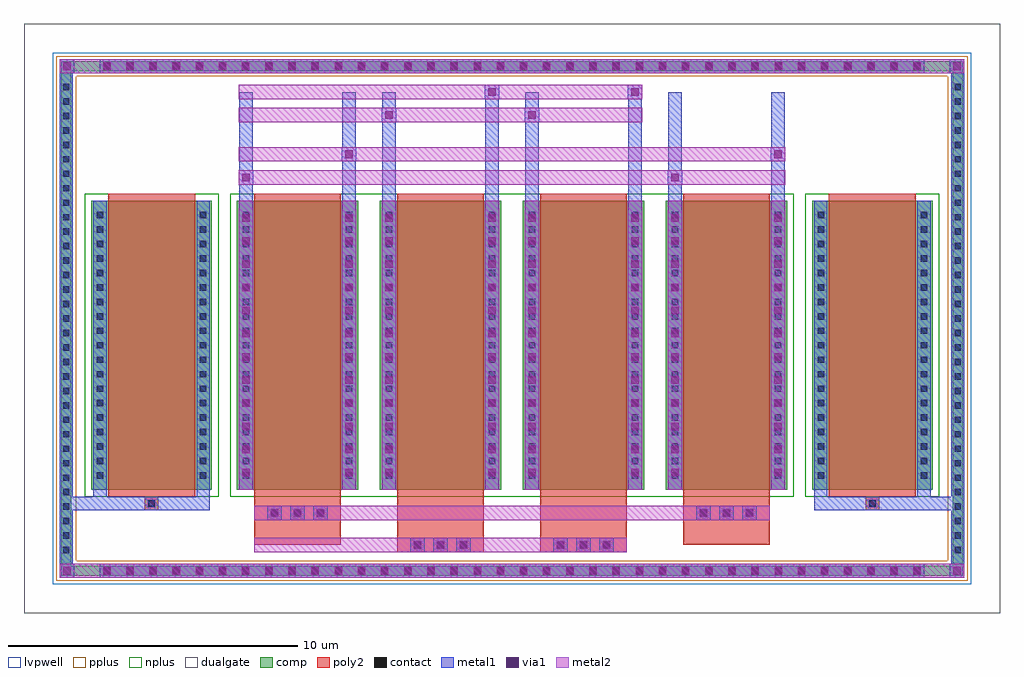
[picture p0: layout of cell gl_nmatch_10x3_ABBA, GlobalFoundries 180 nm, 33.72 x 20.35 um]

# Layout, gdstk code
import gdstk
lib = gdstk.Library(unit=1e-6, precision=1e-09)
def R(c, l, rs):  # rectangles x0, y0, x1, y1
    for r in rs: c.add(gdstk.rectangle(r[:2], r[2:], *l))
def A(c, l, x, y, w, h, nx, ny, dx, dy):  # array of equal rectangles
    R(c, l, [(x+i*dx, y+j*dy, x+i*dx+w, y+j*dy+h) for i in range(nx) for j in range(ny)])
def P(c, l, *ps):  # polygons
    for p in ps: c.add(gdstk.Polygon(p, *l))
comp = (22, 0)
poly2 = (30, 0)
pplus = (31, 0)
nplus = (32, 0)
contact = (33, 0)
metal1 = (34, 0)
via1 = (35, 0)
metal2 = (36, 0)
dualgate = (55, 0)
lvpwell = (204, 0)

gl_nmatch_10x3_abba = lib.new_cell('gl_nmatch_10x3_ABBA')
A(gl_nmatch_10x3_abba, comp, -14.18, -8.895, 0.36, 0.36, 36, 2, 0.8, 17.43)
A(gl_nmatch_10x3_abba, comp, -15.58, -8.18, 0.36, 0.36, 1, 33, 0, 0.5)
A(gl_nmatch_10x3_abba, comp, 15.22, -8.18, 0.36, 0.36, 1, 33, 0, 0.5)
A(gl_nmatch_10x3_abba, comp, -9.51, -5.925, 4.2, 10, 4, 1, 4.94, 0)
R(gl_nmatch_10x3_abba, comp, [(-14.18,-8.895,14.18,-8.535), (-15.58,-8.18,-15.22,8.18), (15.22,-8.18,15.58,8.18), (-14.53,-5.925,-10.37,4.075), (10.37,-5.925,14.53,4.075), (-14.18,8.535,14.18,8.895)])
P(gl_nmatch_10x3_abba, comp, [(-15.58,-8.895),(-15.58,-8.535),(-15.22,-8.535),(15.22,-8.535),(15.22,8.535),(-15.22,8.535),(-15.22,-8.535),(-15.58,-8.535),(-15.58,8.895),(15.58,8.895),(15.58,-8.895)])
A(gl_nmatch_10x3_abba, poly2, -3.45, -8.005, 0.36, 0.36, 3, 1, 0.8, 0)
A(gl_nmatch_10x3_abba, poly2, 1.49, -8.005, 0.36, 0.36, 3, 1, 0.8, 0)
A(gl_nmatch_10x3_abba, poly2, -8.39, -6.895, 0.36, 0.36, 3, 1, 0.8, 0)
A(gl_nmatch_10x3_abba, poly2, 6.43, -6.895, 0.36, 0.36, 3, 1, 0.8, 0)
A(gl_nmatch_10x3_abba, poly2, -8.91, -6.165, 3, 10.48, 4, 1, 4.94, 0)
R(gl_nmatch_10x3_abba, poly2, [(-3.97,-8.075,-0.97,-7.575), (0.97,-8.075,3.97,-7.575), (-8.91,-7.825,-5.91,-6.165), (5.91,-7.825,8.91,-6.165), (-3.97,-7.575,-0.97,-6.165), (0.97,-7.575,3.97,-6.165), (-8.91,-6.965,-5.91,-6.465), (5.91,-6.965,8.91,-6.465), (-12.68,-6.625,-12.22,-6.165), (12.22,-6.625,12.68,-6.165), (-12.63,-6.575,-12.27,-6.215), (12.27,-6.575,12.63,-6.215), (-8.91,-6.465,-5.91,-6.165), (5.91,-6.465,8.91,-6.165), (-13.95,-6.165,-10.95,4.315), (10.95,-6.165,13.95,4.315)])
P(gl_nmatch_10x3_abba, pplus, [(-15.74,-9.055),(-15.74,-8.375),(-15.06,-8.375),(15.06,-8.375),(15.06,8.375),(-15.06,8.375),(-15.06,-8.375),(-15.74,-8.375),(-15.74,9.055),(15.74,9.055),(15.74,-9.055)])
A(gl_nmatch_10x3_abba, nplus, -9.74, -6.155, 4.66, 10.46, 4, 1, 4.94, 0)
R(gl_nmatch_10x3_abba, nplus, [(-14.76,-6.155,-10.14,4.305), (-9.74,-6.155,9.74,4.305), (10.14,-6.155,14.76,4.305)])
A(gl_nmatch_10x3_abba, contact, -14.11, -8.825, 0.22, 0.22, 36, 2, 0.8, 17.43)
A(gl_nmatch_10x3_abba, contact, -15.51, -8.11, 0.22, 0.22, 1, 33, 0, 0.5)
A(gl_nmatch_10x3_abba, contact, 15.29, -8.11, 0.22, 0.22, 1, 33, 0, 0.5)
A(gl_nmatch_10x3_abba, contact, -3.38, -7.935, 0.22, 0.22, 3, 1, 0.8, 0)
A(gl_nmatch_10x3_abba, contact, 1.56, -7.935, 0.22, 0.22, 3, 1, 0.8, 0)
A(gl_nmatch_10x3_abba, contact, -8.32, -6.825, 0.22, 0.22, 3, 1, 0.8, 0)
A(gl_nmatch_10x3_abba, contact, 6.5, -6.825, 0.22, 0.22, 3, 1, 0.8, 0)
A(gl_nmatch_10x3_abba, contact, -14.34, -5.535, 0.22, 0.22, 1, 19, 0, 0.5)
A(gl_nmatch_10x3_abba, contact, -10.78, -5.535, 0.22, 0.22, 1, 19, 0, 0.5)
A(gl_nmatch_10x3_abba, contact, -9.3, -5.535, 0.22, 0.22, 1, 19, 0, 0.5)
A(gl_nmatch_10x3_abba, contact, -5.74, -5.535, 0.22, 0.22, 1, 19, 0, 0.5)
A(gl_nmatch_10x3_abba, contact, -4.36, -5.535, 0.22, 0.22, 1, 19, 0, 0.5)
A(gl_nmatch_10x3_abba, contact, -0.8, -5.535, 0.22, 0.22, 1, 19, 0, 0.5)
A(gl_nmatch_10x3_abba, contact, 0.58, -5.535, 0.22, 0.22, 1, 19, 0, 0.5)
A(gl_nmatch_10x3_abba, contact, 4.14, -5.535, 0.22, 0.22, 1, 19, 0, 0.5)
A(gl_nmatch_10x3_abba, contact, 5.52, -5.535, 0.22, 0.22, 1, 19, 0, 0.5)
A(gl_nmatch_10x3_abba, contact, 9.08, -5.535, 0.22, 0.22, 1, 19, 0, 0.5)
A(gl_nmatch_10x3_abba, contact, 10.56, -5.535, 0.22, 0.22, 1, 19, 0, 0.5)
A(gl_nmatch_10x3_abba, contact, 14.12, -5.535, 0.22, 0.22, 1, 19, 0, 0.5)
R(gl_nmatch_10x3_abba, contact, [(-12.56,-6.505,-12.34,-6.285), (12.34,-6.505,12.56,-6.285)])
A(gl_nmatch_10x3_abba, metal1, -14.25, -8.965, 0.5, 0.5, 36, 2, 0.8, 17.43)
A(gl_nmatch_10x3_abba, metal1, -15.63, -8.23, 0.46, 0.46, 1, 33, 0, 0.5)
A(gl_nmatch_10x3_abba, metal1, 15.17, -8.23, 0.46, 0.46, 1, 33, 0, 0.5)
A(gl_nmatch_10x3_abba, metal1, -3.52, -8.075, 0.5, 0.5, 3, 1, 0.8, 0)
A(gl_nmatch_10x3_abba, metal1, 1.42, -8.075, 0.5, 0.5, 3, 1, 0.8, 0)
A(gl_nmatch_10x3_abba, metal1, -8.46, -6.965, 0.5, 0.5, 3, 1, 0.8, 0)
A(gl_nmatch_10x3_abba, metal1, 6.36, -6.965, 0.5, 0.5, 3, 1, 0.8, 0)
A(gl_nmatch_10x3_abba, metal1, -14.46, -5.655, 0.46, 0.46, 1, 19, 0, 0.5)
A(gl_nmatch_10x3_abba, metal1, -10.9, -5.655, 0.46, 0.46, 1, 19, 0, 0.5)
A(gl_nmatch_10x3_abba, metal1, -9.42, -5.655, 0.46, 0.46, 1, 19, 0, 0.5)
A(gl_nmatch_10x3_abba, metal1, -5.86, -5.655, 0.46, 0.46, 1, 19, 0, 0.5)
A(gl_nmatch_10x3_abba, metal1, -4.48, -5.655, 0.46, 0.46, 1, 19, 0, 0.5)
A(gl_nmatch_10x3_abba, metal1, -0.92, -5.655, 0.46, 0.46, 1, 19, 0, 0.5)
A(gl_nmatch_10x3_abba, metal1, 0.46, -5.655, 0.46, 0.46, 1, 19, 0, 0.5)
A(gl_nmatch_10x3_abba, metal1, 4.02, -5.655, 0.46, 0.46, 1, 19, 0, 0.5)
A(gl_nmatch_10x3_abba, metal1, 5.4, -5.655, 0.46, 0.46, 1, 19, 0, 0.5)
A(gl_nmatch_10x3_abba, metal1, 8.96, -5.655, 0.46, 0.46, 1, 19, 0, 0.5)
A(gl_nmatch_10x3_abba, metal1, 10.44, -5.655, 0.46, 0.46, 1, 19, 0, 0.5)
A(gl_nmatch_10x3_abba, metal1, 14, -5.655, 0.46, 0.46, 1, 19, 0, 0.5)
A(gl_nmatch_10x3_abba, metal1, -9.44, -5.575, 0.5, 0.5, 1, 12, 0, 0.8)
A(gl_nmatch_10x3_abba, metal1, -5.88, -5.575, 0.5, 0.5, 1, 12, 0, 0.8)
A(gl_nmatch_10x3_abba, metal1, -4.5, -5.575, 0.5, 0.5, 1, 12, 0, 0.8)
A(gl_nmatch_10x3_abba, metal1, -0.94, -5.575, 0.5, 0.5, 1, 12, 0, 0.8)
A(gl_nmatch_10x3_abba, metal1, 0.44, -5.575, 0.5, 0.5, 1, 12, 0, 0.8)
A(gl_nmatch_10x3_abba, metal1, 4, -5.575, 0.5, 0.5, 1, 12, 0, 0.8)
A(gl_nmatch_10x3_abba, metal1, 5.38, -5.575, 0.5, 0.5, 1, 12, 0, 0.8)
A(gl_nmatch_10x3_abba, metal1, 8.94, -5.575, 0.5, 0.5, 1, 12, 0, 0.8)
R(gl_nmatch_10x3_abba, metal1, [(-15.63,-8.965,-15.13,-8.465), (-15.63,-8.965,-15.13,-8.465), (-15.63,-8.965,-15.17,-8.535), (-14.25,-8.965,14.25,-8.465), (15.13,-8.965,15.63,-8.465), (15.13,-8.965,15.63,-8.465), (15.17,-8.965,15.63,-8.535), (-15.63,-8.535,-15.17,8.535), (15.17,-8.535,15.63,8.535), (-15.63,-6.625,-12.68,-6.165), (-14.46,-6.625,-12.68,-6.165), (-14.46,-6.625,-14,-5.925), (-12.68,-6.625,-12.22,-6.165), (-12.22,-6.625,-10.44,-6.165), (-10.9,-6.625,-10.44,-5.925), (10.44,-6.625,12.22,-6.165), (10.44,-6.625,10.9,-5.925), (12.22,-6.625,12.68,-6.165), (12.68,-6.625,14.46,-6.165), (12.68,-6.625,15.63,-6.165), (14,-6.625,14.46,-5.925), (-14.46,-5.925,-14,4.075), (-10.9,-5.925,-10.44,4.075), (-9.42,-5.925,-8.96,4.075), (-5.86,-5.925,-5.4,4.075), (-4.48,-5.925,-4.02,4.075), (-0.92,-5.925,-0.46,4.075), (0.46,-5.925,0.92,4.075), (4.02,-5.925,4.48,4.075), (5.4,-5.925,5.86,4.075), (8.96,-5.925,9.42,4.075), (10.44,-5.925,10.9,4.075), (14,-5.925,14.46,4.075), (-9.44,-5.575,-8.94,3.725), (-5.88,-5.575,-5.38,3.725), (-4.5,-5.575,-4,3.725), (-0.94,-5.575,-0.44,3.725), (0.44,-5.575,0.94,3.725), (4,-5.575,4.5,3.725), (5.38,-5.575,5.88,3.725), (8.94,-5.575,9.44,3.725), (-9.42,4.075,-8.96,5.125), (-9.42,4.075,-8.96,7.825), (-5.86,4.075,-5.4,5.925), (-5.86,4.075,-5.4,7.825), (-4.48,4.075,-4.02,7.275), (-4.48,4.075,-4.02,7.825), (-0.92,4.075,-0.46,8.075), (-0.92,4.075,-0.46,7.825), (0.46,4.075,0.92,7.275), (0.46,4.075,0.92,7.825), (4.02,4.075,4.48,8.075), (4.02,4.075,4.48,7.825), (5.4,4.075,5.86,5.125), (5.4,4.075,5.86,7.825), (8.96,4.075,9.42,5.925), (8.96,4.075,9.42,7.825), (-9.44,4.625,-8.94,5.125), (5.38,4.625,5.88,5.125), (-5.88,5.425,-5.38,5.925), (8.94,5.425,9.44,5.925), (-4.5,6.775,-4,7.275), (0.44,6.775,0.94,7.275), (-0.94,7.575,-0.44,8.075), (4,7.575,4.5,8.075), (-15.63,8.465,-15.13,8.965), (-15.63,8.465,-15.13,8.965), (-14.25,8.465,14.25,8.965), (15.13,8.465,15.63,8.965), (15.13,8.465,15.63,8.965), (-15.63,8.535,-15.17,8.965), (15.17,8.535,15.63,8.965)])
A(gl_nmatch_10x3_abba, via1, -14.13, -8.845, 0.26, 0.26, 36, 2, 0.8, 17.43)
A(gl_nmatch_10x3_abba, via1, -3.4, -7.955, 0.26, 0.26, 3, 1, 0.8, 0)
A(gl_nmatch_10x3_abba, via1, 1.54, -7.955, 0.26, 0.26, 3, 1, 0.8, 0)
A(gl_nmatch_10x3_abba, via1, -8.34, -6.845, 0.26, 0.26, 3, 1, 0.8, 0)
A(gl_nmatch_10x3_abba, via1, 6.48, -6.845, 0.26, 0.26, 3, 1, 0.8, 0)
A(gl_nmatch_10x3_abba, via1, -9.32, -5.455, 0.26, 0.26, 1, 12, 0, 0.8)
A(gl_nmatch_10x3_abba, via1, -5.76, -5.455, 0.26, 0.26, 1, 12, 0, 0.8)
A(gl_nmatch_10x3_abba, via1, -4.38, -5.455, 0.26, 0.26, 1, 12, 0, 0.8)
A(gl_nmatch_10x3_abba, via1, -0.82, -5.455, 0.26, 0.26, 1, 12, 0, 0.8)
A(gl_nmatch_10x3_abba, via1, 0.56, -5.455, 0.26, 0.26, 1, 12, 0, 0.8)
A(gl_nmatch_10x3_abba, via1, 4.12, -5.455, 0.26, 0.26, 1, 12, 0, 0.8)
A(gl_nmatch_10x3_abba, via1, 5.5, -5.455, 0.26, 0.26, 1, 12, 0, 0.8)
A(gl_nmatch_10x3_abba, via1, 9.06, -5.455, 0.26, 0.26, 1, 12, 0, 0.8)
R(gl_nmatch_10x3_abba, via1, [(-15.51,-8.845,-15.25,-8.585), (15.25,-8.845,15.51,-8.585), (-9.32,4.745,-9.06,5.005), (5.5,4.745,5.76,5.005), (-5.76,5.545,-5.5,5.805), (9.06,5.545,9.32,5.805), (-4.38,6.895,-4.12,7.155), (0.56,6.895,0.82,7.155), (-0.82,7.695,-0.56,7.955), (4.12,7.695,4.38,7.955), (-15.51,8.585,-15.25,8.845), (15.25,8.585,15.51,8.845)])
A(gl_nmatch_10x3_abba, metal2, -14.25, -8.965, 0.5, 0.5, 36, 2, 0.8, 17.43)
A(gl_nmatch_10x3_abba, metal2, -3.52, -8.075, 0.5, 0.5, 3, 1, 0.8, 0)
A(gl_nmatch_10x3_abba, metal2, 1.42, -8.075, 0.5, 0.5, 3, 1, 0.8, 0)
A(gl_nmatch_10x3_abba, metal2, -8.46, -6.965, 0.5, 0.5, 3, 1, 0.8, 0)
A(gl_nmatch_10x3_abba, metal2, 6.36, -6.965, 0.5, 0.5, 3, 1, 0.8, 0)
A(gl_nmatch_10x3_abba, metal2, -9.44, -5.575, 0.5, 0.5, 1, 12, 0, 0.8)
A(gl_nmatch_10x3_abba, metal2, -5.88, -5.575, 0.5, 0.5, 1, 12, 0, 0.8)
A(gl_nmatch_10x3_abba, metal2, -4.5, -5.575, 0.5, 0.5, 1, 12, 0, 0.8)
A(gl_nmatch_10x3_abba, metal2, -0.94, -5.575, 0.5, 0.5, 1, 12, 0, 0.8)
A(gl_nmatch_10x3_abba, metal2, 0.44, -5.575, 0.5, 0.5, 1, 12, 0, 0.8)
A(gl_nmatch_10x3_abba, metal2, 4, -5.575, 0.5, 0.5, 1, 12, 0, 0.8)
A(gl_nmatch_10x3_abba, metal2, 5.38, -5.575, 0.5, 0.5, 1, 12, 0, 0.8)
A(gl_nmatch_10x3_abba, metal2, 8.94, -5.575, 0.5, 0.5, 1, 12, 0, 0.8)
R(gl_nmatch_10x3_abba, metal2, [(-15.63,-8.965,-15.13,-8.465), (-15.63,-8.965,-15.13,-8.465), (-15.63,-8.965,-15.22,-8.465), (-15.22,-8.965,15.22,-8.465), (15.13,-8.965,15.63,-8.465), (15.13,-8.965,15.63,-8.465), (15.22,-8.965,15.63,-8.465), (-8.91,-8.075,3.97,-7.575), (-3.97,-8.075,-0.97,-7.575), (0.97,-8.075,3.97,-7.575), (-8.91,-6.965,8.91,-6.465), (-8.91,-6.965,-5.91,-6.465), (5.91,-6.965,8.91,-6.465), (-9.44,-5.925,-8.94,4.075), (-5.88,-5.925,-5.38,4.075), (-4.5,-5.925,-4,4.075), (-0.94,-5.925,-0.44,4.075), (0.44,-5.925,0.94,4.075), (4,-5.925,4.5,4.075), (5.38,-5.925,5.88,4.075), (8.94,-5.925,9.44,4.075), (-9.44,4.625,9.44,5.125), (-9.44,4.625,-8.94,5.125), (-9.44,4.625,-5.38,5.125), (5.38,4.625,5.88,5.125), (5.38,4.625,9.44,5.125), (-9.44,5.425,9.44,5.925), (-9.44,5.425,-5.38,5.925), (-5.88,5.425,-5.38,5.925), (5.38,5.425,9.44,5.925), (8.94,5.425,9.44,5.925), (-9.44,6.775,4.5,7.275), (-4.5,6.775,-4,7.275), (-4.5,6.775,-0.44,7.275), (0.44,6.775,0.94,7.275), (0.44,6.775,4.5,7.275), (-9.44,7.575,4.5,8.075), (-4.5,7.575,-0.44,8.075), (-0.94,7.575,-0.44,8.075), (0.44,7.575,4.5,8.075), (4,7.575,4.5,8.075), (-15.63,8.465,-15.13,8.965), (-15.63,8.465,-15.13,8.965), (-15.63,8.465,-15.22,8.965), (-15.22,8.465,15.22,8.965), (15.13,8.465,15.63,8.965), (15.13,8.465,15.63,8.965), (15.22,8.465,15.63,8.965)])
R(gl_nmatch_10x3_abba, dualgate, [(-16.86,-10.175,16.86,10.175)])
R(gl_nmatch_10x3_abba, lvpwell, [(-15.86,-9.175,15.86,9.175)])

lib.write_gds('gl_nmatch_10x3_ABBA.gds')
